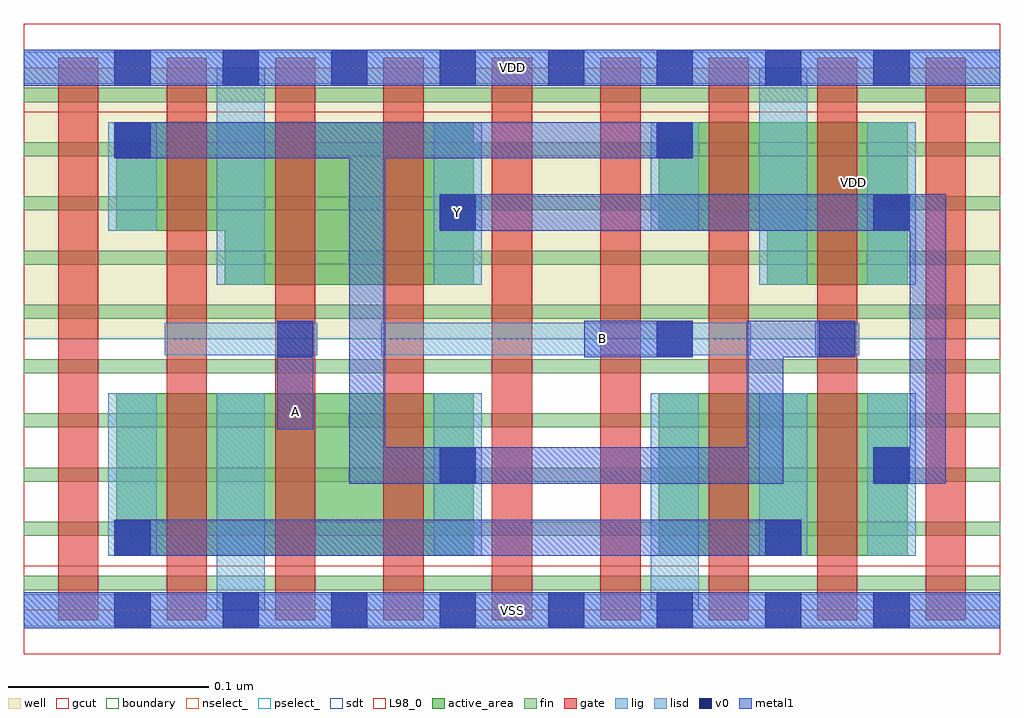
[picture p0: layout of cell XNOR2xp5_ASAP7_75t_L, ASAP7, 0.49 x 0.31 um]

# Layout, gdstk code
import gdstk
lib = gdstk.Library(unit=1e-6, precision=2.5e-10)
def R(c, l, rs):  # rectangles x0, y0, x1, y1
    for r in rs: c.add(gdstk.rectangle(r[:2], r[2:], *l))
def A(c, l, x, y, w, h, nx, ny, dx, dy):  # array of equal rectangles
    R(c, l, [(x+i*dx, y+j*dy, x+i*dx+w, y+j*dy+h) for i in range(nx) for j in range(ny)])
def P(c, l, *ps):  # polygons
    for p in ps: c.add(gdstk.Polygon(p, *l))
well = (1, 0)
fin = (2, 0)
gate = (7, 0)
gcut = (10, 0)
active_area = (11, 0)
nselect_ = (12, 0)
pselect_ = (13, 0)
lig = (16, 0)
lisd = (17, 0)
v0 = (18, 0)
metal1 = (19, 0)
sdt = (88, 0)
L98_0 = (98, 0)
boundary = (100, 0)

xnor2xp5_asap7_75t_l = lib.new_cell('XNOR2xp5_ASAP7_75t_L')
R(xnor2xp5_asap7_75t_l, well, [(0,0.135,0.486,0.27)])
A(xnor2xp5_asap7_75t_l, fin, 0, 0.01, 0.486, 0.007, 1, 10, 0, 0.027)
A(xnor2xp5_asap7_75t_l, gate, 0.017, -0.005, 0.02, 0.28, 9, 1, 0.054, 0)
R(xnor2xp5_asap7_75t_l, gcut, [(0,-0.022,0.486,0.022), (0,0.248,0.486,0.292)])
R(xnor2xp5_asap7_75t_l, active_area, [(0.046,0.027,0.224,0.108), (0.316,0.027,0.44,0.108)])
P(xnor2xp5_asap7_75t_l, active_area, [(0.316,0.189),(0.37,0.189),(0.37,0.162),(0.44,0.162),(0.44,0.243),(0.316,0.243)],
  [(0.224,0.243),(0.046,0.243),(0.046,0.189),(0.1,0.189),(0.1,0.162),(0.224,0.162)])
R(xnor2xp5_asap7_75t_l, nselect_, [(0,0,0.486,0.135)])
R(xnor2xp5_asap7_75t_l, pselect_, [(0,0.135,0.486,0.27)])
R(xnor2xp5_asap7_75t_l, lig, [(0,-0.008,0.486,0.008), (0.07,0.127,0.146,0.143), (0.178,0.127,0.362,0.143), (0.394,0.127,0.416,0.143), (0,0.262,0.486,0.278)])
A(xnor2xp5_asap7_75t_l, lisd, 0.042, 0.027, 0.024, 0.081, 3, 1, 0.162, 0)
R(xnor2xp5_asap7_75t_l, lisd, [(0.096,0,0.12,0.108), (0.312,0,0.336,0.108), (0.42,0.027,0.444,0.108), (0.096,0.162,0.12,0.27), (0.204,0.162,0.228,0.243), (0.366,0.162,0.39,0.27), (0.42,0.162,0.444,0.243), (0.042,0.189,0.066,0.243), (0.312,0.189,0.336,0.243)])
A(xnor2xp5_asap7_75t_l, v0, 0.045, -0.009, 0.018, 0.018, 8, 2, 0.054, 0.27)
R(xnor2xp5_asap7_75t_l, v0, [(0.045,0.027,0.063,0.045), (0.369,0.027,0.387,0.045), (0.207,0.063,0.225,0.081), (0.423,0.063,0.441,0.081), (0.126,0.126,0.144,0.144), (0.315,0.126,0.333,0.144), (0.396,0.126,0.414,0.144), (0.207,0.189,0.225,0.207), (0.423,0.189,0.441,0.207), (0.045,0.225,0.063,0.243), (0.315,0.225,0.333,0.243)])
R(xnor2xp5_asap7_75t_l, metal1, [(0,-0.009,0.486,0.009), (0.045,0.027,0.387,0.045), (0.126,0.09,0.144,0.144), (0.279,0.126,0.333,0.144), (0,0.261,0.486,0.279)])
P(xnor2xp5_asap7_75t_l, metal1, [(0.207,0.207),(0.207,0.189),(0.441,0.189),(0.441,0.081),(0.423,0.081),(0.423,0.063),(0.459,0.063),(0.459,0.207)],
  [(0.378,0.126),(0.414,0.126),(0.414,0.144),(0.36,0.144),(0.36,0.081),(0.18,0.081),(0.18,0.225),(0.333,0.225),(0.333,0.243),(0.045,0.243),(0.045,0.225),(0.162,0.225),(0.162,0.063),(0.378,0.063)])
A(xnor2xp5_asap7_75t_l, sdt, 0.096, 0.027, 0.024, 0.081, 3, 1, 0.108, 0)
R(xnor2xp5_asap7_75t_l, sdt, [(0.042,0.027,0.066,0.108), (0.366,0.027,0.39,0.108), (0.42,0.027,0.444,0.108), (0.096,0.162,0.12,0.243), (0.204,0.162,0.228,0.243), (0.366,0.162,0.39,0.243), (0.42,0.162,0.444,0.243), (0.042,0.189,0.066,0.243), (0.312,0.189,0.336,0.243)])
R(xnor2xp5_asap7_75t_l, L98_0, [(0,0,0.486,0.27)])
R(xnor2xp5_asap7_75t_l, boundary, [(0,0,0.486,0.27)])
xnor2xp5_asap7_75t_l.add(gdstk.Label('Y', (0.216,0.198), layer=19, texttype=251))
xnor2xp5_asap7_75t_l.add(gdstk.Label('B', (0.288,0.135), layer=19, texttype=251))
xnor2xp5_asap7_75t_l.add(gdstk.Label('A', (0.135,0.099), layer=19, texttype=251))
xnor2xp5_asap7_75t_l.add(gdstk.Label('VSS', (0.243,0), layer=19, texttype=251))
xnor2xp5_asap7_75t_l.add(gdstk.Label('VDD', (0.243,0.27), layer=19, texttype=251))
xnor2xp5_asap7_75t_l.add(gdstk.Label('VDD', (0.413,0.213), layer=1, texttype=251))
xnor2xp5_asap7_75t_l.add(gdstk.Label('VSS', (0.559,0.213), layer=3, texttype=251))

lib.write_gds('XNOR2xp5_ASAP7_75t_L.gds')
